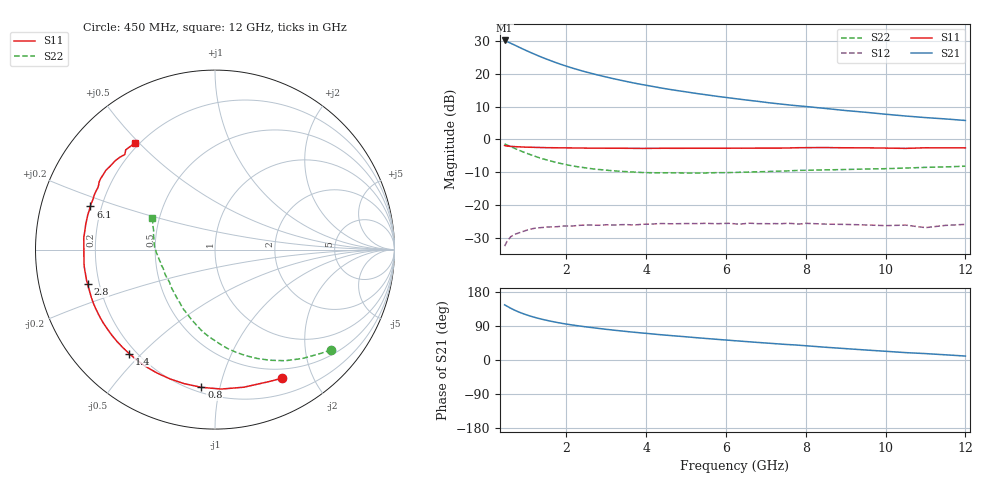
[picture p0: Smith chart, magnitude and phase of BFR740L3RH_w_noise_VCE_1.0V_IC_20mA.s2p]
! (c) 2012  Infineon Technologies AG, Munich
! Infineon Technologies  Discrete & RF Semiconductors
! BFR740L3RH
! VCE =  1.0 V,  IC =  20 mA
! Common Emitter S-Parameters:  May 2012
# GHz  S  MA  R  50
!  f  S11  S21  S12  S22
! GHz  MAG  ANG  MAG  ANG  MAG  ANG  MAG  ANG
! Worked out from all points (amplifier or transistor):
!   85 points, 450 MHz to 12 GHz, reference 50 ohm
!   highest |S21| = 30.1 dB at 450 MHz (marker M1)
!   |S21| within 3 dB of that: start of sweep to 979.1 MHz
!   unconditionally stable (mu >= 1): 6.27 GHz to end of sweep
!   at 1.8 GHz: K = 0.28, MSG = 24.8 dB, |S12| = -26.5 dB
!   at 4.6 GHz: K = 0.72, MSG = 20.4 dB, |S12| = -25.7 dB
!   at 12 GHz: K = 2.06, MAG = 10.0 dB, |S12| = -25.9 dB
!   lowest NFmin = 0.90 dB at 450 MHz
!   S11 on the Smith chart (normalised r, x): 450 MHz: 0.38, -1.59; 800 MHz: 0.23, -0.88; 1.4 GHz: 0.17, -0.46; 2.8 GHz: 0.16, -0.13; 6.1 GHz: 0.16, +0.16; 12 GHz: 0.18, +0.48
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0.45  0.8083 -62.3  32.12 145.6  0.0237 59.2  0.8551 -40.8
0.6  0.7833 -78.2  29.19 136.7  0.0329 49.3  0.7777 -51.3
0.7  0.7777 -87.4  27.34 131.5  0.0358 46.1  0.7324 -57.7
0.8  0.7711 -95.6  25.56 126.9  0.0376 42.7  0.6889 -63.5
0.9  0.7662 -102.9  23.93 122.8  0.0395 39.7  0.65 -68.9
1  0.7626 -109.4  22.44 119.1  0.0414 37.4  0.616 -73.7
1.1  0.7598 -115.2  21.08 115.7  0.043 34.8  0.5854 -78.2
1.2  0.7571 -120.4  19.85 112.6  0.0444 32.2  0.5572 -82.5
1.4  0.7514 -129.6  17.65 107.2  0.0456 29.4  0.5078 -90.0
1.6  0.7484 -136.9  15.87 102.5  0.0466 26.6  0.4705 -96.9
1.8  0.7451 -143.5  14.31 98.4  0.0471 25.1  0.4378 -102.9
2.1  0.7423 -151.4  12.46 93.1  0.048 21.7  0.4007 -110.9
2.4  0.7394 -157.8  11.01 88.7  0.0495 19.4  0.3752 -118.0
2.8  0.7355 -164.9  9.523 83.4  0.0493 17.8  0.349 -125.8
3.5  0.7328 -175.1  7.639 75.3  0.0505 15.6  0.3237 -138.0
4.3  0.7322 176.4  6.185 67.3  0.0522 14.5  0.3103 -148.3
5.2  0.7336 167.8  5.074 59.4  0.0523 12.7  0.3072 -158.9
6.1  0.7351 160.9  4.278 51.9  0.0527 12.6  0.3132 -167.7
6.3  0.7356 159.4  4.128 50.3  0.0514 11.5  0.3154 -169.6
8.5  0.7513 144.1  2.957 33.6  0.0513 10.5  0.3438 171.8
10.5  0.7302 133.5  2.272 19.5  0.0496 12.5  0.3664 160.2
12  0.7434 127.1  1.944 10.4  0.0509 19.1  0.3913 153.2
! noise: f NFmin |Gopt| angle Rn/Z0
0.45  0.9  0.05  14  0.11
0.9  0.9  0.05  39  0.11
1.5  0.91  0.07  66  0.1
1.9  0.92  0.09  79  0.11
2.4  0.94  0.11  89  0.11
3.5  1  0.14  106  0.1
5.5  1.13  0.2  130  0.1
8  1.32  0.27  162  0.09
10  1.5  0.31  -166  0.09
12  1.67  0.34  -144  0.12
